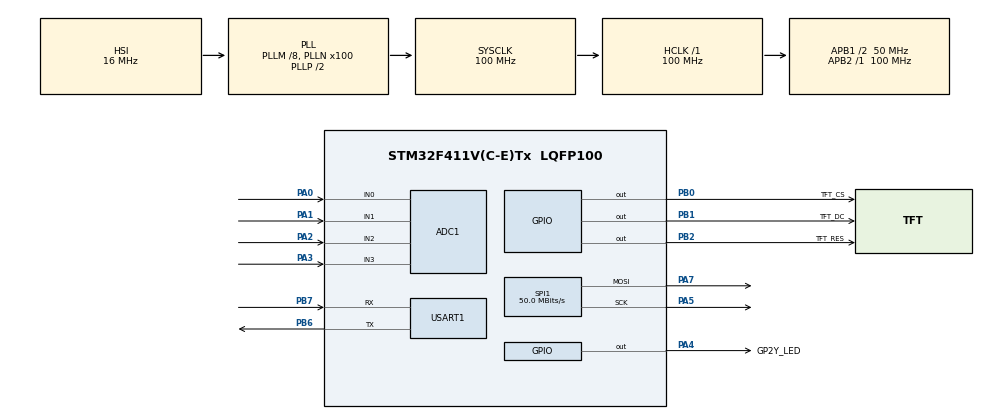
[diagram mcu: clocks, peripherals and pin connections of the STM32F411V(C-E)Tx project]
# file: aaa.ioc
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ADC1.Channel-1\#ChannelRegularConversion=ADC_CHANNEL_0
ADC1.NbrOfConversionFlag=1
ADC1.Rank-1\#ChannelRegularConversion=1
ADC1.SamplingTime-1\#ChannelRegularConversion=ADC_SAMPLETIME_3CYCLES
ADC1.master=1
FREERTOS.Tasks01=Task_System_Che,24,256,StartDefaultTask,Default,NULL,Dynamic,NULL,NULL
FREERTOS.configUSE_NEWLIB_REENTRANT=1
Mcu.Family=STM32F4
Mcu.Name=STM32F411V(C-E)Tx
Mcu.Package=LQFP100
NVIC.PriorityGroup=NVIC_PRIORITYGROUP_4
NVIC.TIM5_IRQn=true\:15\:0\:false\:false\:true\:false\:false\:true\:true
NVIC.TimeBase=TIM5_IRQn
NVIC.TimeBaseIP=TIM5
PA0-WKUP.Signal=ADCx_IN0
PA1.Signal=ADCx_IN1
PA13.Mode=Serial_Wire
PA13.Signal=SYS_JTMS-SWDIO
PA14.Mode=Serial_Wire
PA14.Signal=SYS_JTCK-SWCLK
PA2.Signal=ADCx_IN2
PA3.Signal=ADCx_IN3
PA4.GPIO_Label=GP2Y\\_LED
PA4.Signal=GPIO_Output
PA5.Mode=TX_Only_Simplex_Unidirect_Master
PA5.Signal=SPI1_SCK
PA7.Mode=TX_Only_Simplex_Unidirect_Master
PA7.Signal=SPI1_MOSI
PB0.GPIO_Label=TFT_CS
PB0.Signal=GPIO_Output
PB1.GPIO_Label=TFT_DC
PB1.Signal=GPIO_Output
PB2.GPIO_Label=TFT_RES
PB2.Signal=GPIO_Output
PB6.Mode=Asynchronous
PB6.Signal=USART1_TX
PB7.Mode=Asynchronous
PB7.Signal=USART1_RX
PH0\ -\ OSC_IN.Mode=HSE-External-Oscillator
PH0\ -\ OSC_IN.Signal=RCC_OSC_IN
PH1\ -\ OSC_OUT.Mode=HSE-External-Oscillator
PH1\ -\ OSC_OUT.Signal=RCC_OSC_OUT
ProjectManager.HeapSize=0x200
ProjectManager.StackSize=0x400
ProjectManager.TargetToolchain=STM32CubeIDE
RCC.48MHZClocksFreq_Value=50000000
RCC.AHBFreq_Value=100000000
RCC.APB1CLKDivider=RCC_HCLK_DIV2
RCC.APB1Freq_Value=50000000
RCC.APB1TimFreq_Value=100000000
RCC.APB2Freq_Value=100000000
RCC.APB2TimFreq_Value=100000000
RCC.CortexFreq_Value=100000000
RCC.HCLKFreq_Value=100000000
RCC.HSE_VALUE=25000000
RCC.HSI_VALUE=16000000
RCC.LSE_VALUE=32768
RCC.PLLM=8
RCC.PLLN=100
RCC.SYSCLKFreq_VALUE=100000000
RCC.SYSCLKSource=RCC_SYSCLKSOURCE_PLLCLK
RCC.VCOOutputFreq_Value=200000000
SH.ADCx_IN0.0=ADC1_IN0,IN0
SH.ADCx_IN1.0=ADC1_IN1,IN1
SH.ADCx_IN2.0=ADC1_IN2,IN2
SH.ADCx_IN3.0=ADC1_IN3,IN3
SPI1.CalculateBaudRate=50.0 MBits/s
SPI1.Direction=SPI_DIRECTION_2LINES
SPI1.Mode=SPI_MODE_MASTER
SPI1.VirtualType=VM_MASTER
USART1.VirtualMode=VM_ASYNC
VP_FREERTOS_VS_CMSIS_V2.Mode=CMSIS_V2
VP_SYS_VS_tim5.Mode=TIM5
board=custom

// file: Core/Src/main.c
/* USER CODE BEGIN Header */
/**
  ******************************************************************************
  * @file           : main.c
  * @brief          : Main program body
  ******************************************************************************
  * @attention
  *
  * Copyright (c) 2026 STMicroelectronics.
  * All rights reserved.
  *
  * This software is licensed under terms that can be found in the LICENSE file
  * in the root directory of this software component.
  * If no LICENSE file comes with this software, it is provided AS-IS.
  *
  ******************************************************************************
  */
/* USER CODE END Header */
#include "main.h"
#include "cmsis_os.h"

/* USER CODE BEGIN Includes */
/* >>>>>>>>>>>>>>>>>>>>>>>>>>>>>>>>>>>>>>>>>>>>>>>>>>>>>>>>>>>>>>>>>>>>>>>>> */
/* >>> PASTE [1] - Include module ứng dụng                                  */
#include "air_quality.h"
/* <<< PASTE [1] END                                                         */
/* <<<<<<<<<<<<<<<<<<<<<<<<<<<<<<<<<<<<<<<<<<<<<<<<<<<<<<<<<<<<<<<<<<<<<<<<< */
/* USER CODE END Includes */

ADC_HandleTypeDef hadc1;

SPI_HandleTypeDef hspi1;

UART_HandleTypeDef huart1;

/* Definitions for Task_System_Che */
osThreadId_t Task_System_CheHandle;
const osThreadAttr_t Task_System_Che_attributes = {
  .name = "Task_System_Che",
  .stack_size = 256 * 4,
  .priority = (osPriority_t) osPriorityNormal,
};
/* USER CODE BEGIN PV */
/* >>>>>>>>>>>>>>>>>>>>>>>>>>>>>>>>>>>>>>>>>>>>>>>>>>>>>>>>>>>>>>>>>>>>>>>>> */
/* >>> PASTE [2] - Khai báo 3 task mới                                       */
osThreadId_t TaskSensorHandle;
osThreadId_t TaskDisplayHandle;
osThreadId_t TaskUARTHandle;

const osThreadAttr_t TaskSensor_attributes = {
  .name       = "TaskSensor",
  .stack_size = 512 * 4,
  .priority   = (osPriority_t) osPriorityAboveNormal,
};
const osThreadAttr_t TaskDisplay_attributes = {
  .name       = "TaskDisplay",
  .stack_size = 512 * 4,
  .priority   = (osPriority_t) osPriorityNormal,
};
const osThreadAttr_t TaskUART_attributes = {
  .name       = "TaskUART",
  .stack_size = 384 * 4,
  .priority   = (osPriority_t) osPriorityBelowNormal,
};
/* <<< PASTE [2] END                                                         */
/* <<<<<<<<<<<<<<<<<<<<<<<<<<<<<<<<<<<<<<<<<<<<<<<<<<<<<<<<<<<<<<<<<<<<<<<<< */
/* USER CODE END PV */

void SystemClock_Config(void);
static void MX_GPIO_Init(void);
static void MX_ADC1_Init(void);
static void MX_SPI1_Init(void);
static void MX_USART1_UART_Init(void);
void StartDefaultTask(void *argument);

int main(void)
{

  /* MCU Configuration--------------------------------------------------------*/

  /* Reset of all peripherals, Initializes the Flash interface and the Systick. */
  HAL_Init();

  /* Configure the system clock */
  SystemClock_Config();

  /* Initialize all configured peripherals */
  MX_GPIO_Init();
  MX_ADC1_Init();
  MX_SPI1_Init();
  MX_USART1_UART_Init();

  /* Init scheduler */
  osKernelInitialize();

  /* Create the thread(s) */
  /* creation of Task_System_Che */
  Task_System_CheHandle = osThreadNew(StartDefaultTask, NULL, &Task_System_Che_attributes);

  /* USER CODE BEGIN RTOS_THREADS */
  /* >>>>>>>>>>>>>>>>>>>>>>>>>>>>>>>>>>>>>>>>>>>>>>>>>>>>>>>>>>>>>>>>>>>>>>> */
  /* >>> PASTE [3] - Tạo 3 task: đọc cảm biến / hiển thị TFT / báo UART     */
  TaskSensorHandle  = osThreadNew(Task_SensorRead,    NULL, &TaskSensor_attributes);
  TaskDisplayHandle = osThreadNew(Task_DisplayUpdate, NULL, &TaskDisplay_attributes);
  TaskUARTHandle    = osThreadNew(Task_UART_Report,   NULL, &TaskUART_attributes);
  /* <<< PASTE [3] END                                                       */
  /* <<<<<<<<<<<<<<<<<<<<<<<<<<<<<<<<<<<<<<<<<<<<<<<<<<<<<<<<<<<<<<<<<<<<<<< */
  /* USER CODE END RTOS_THREADS */

  /* Start scheduler */
  osKernelStart();

  /* We should never get here as control is now taken by the scheduler */

  /* Infinite loop */
  while (1)
  {

  }
}

void SystemClock_Config(void)
{
  RCC_OscInitTypeDef RCC_OscInitStruct = {0};
  RCC_ClkInitTypeDef RCC_ClkInitStruct = {0};

  /** Configure the main internal regulator output voltage
  */
  __HAL_RCC_PWR_CLK_ENABLE();
  __HAL_PWR_VOLTAGESCALING_CONFIG(PWR_REGULATOR_VOLTAGE_SCALE1);

  /** Initializes the RCC Oscillators according to the specified parameters
  * in the RCC_OscInitTypeDef structure.
  */
  RCC_OscInitStruct.OscillatorType = RCC_OSCILLATORTYPE_HSI;
  RCC_OscInitStruct.HSIState = RCC_HSI_ON;
  RCC_OscInitStruct.HSICalibrationValue = RCC_HSICALIBRATION_DEFAULT;
  RCC_OscInitStruct.PLL.PLLState = RCC_PLL_ON;
  RCC_OscInitStruct.PLL.PLLSource = RCC_PLLSOURCE_HSI;
  RCC_OscInitStruct.PLL.PLLM = 8;
  RCC_OscInitStruct.PLL.PLLN = 100;
  RCC_OscInitStruct.PLL.PLLP = RCC_PLLP_DIV2;
  RCC_OscInitStruct.PLL.PLLQ = 4;
  if (HAL_RCC_OscConfig(&RCC_OscInitStruct) != HAL_OK)
  {
    Error_Handler();
  }

  /** Initializes the CPU, AHB and APB buses clocks
  */
  RCC_ClkInitStruct.ClockType = RCC_CLOCKTYPE_HCLK|RCC_CLOCKTYPE_SYSCLK
                              |RCC_CLOCKTYPE_PCLK1|RCC_CLOCKTYPE_PCLK2;
  RCC_ClkInitStruct.SYSCLKSource = RCC_SYSCLKSOURCE_PLLCLK;
  RCC_ClkInitStruct.AHBCLKDivider = RCC_SYSCLK_DIV1;
  RCC_ClkInitStruct.APB1CLKDivider = RCC_HCLK_DIV2;
  RCC_ClkInitStruct.APB2CLKDivider = RCC_HCLK_DIV1;

  if (HAL_RCC_ClockConfig(&RCC_ClkInitStruct, FLASH_LATENCY_3) != HAL_OK)
  {
    Error_Handler();
  }
}

static void MX_ADC1_Init(void)
{

  ADC_ChannelConfTypeDef sConfig = {0};

  /** Configure the global features of the ADC (Clock, Resolution, Data Alignment and number of conversion)
  */
  hadc1.Instance = ADC1;
  hadc1.Init.ClockPrescaler = ADC_CLOCK_SYNC_PCLK_DIV4;
  hadc1.Init.Resolution = ADC_RESOLUTION_12B;
  hadc1.Init.ScanConvMode = DISABLE;
  hadc1.Init.ContinuousConvMode = DISABLE;
  hadc1.Init.DiscontinuousConvMode = DISABLE;
  hadc1.Init.ExternalTrigConvEdge = ADC_EXTERNALTRIGCONVEDGE_NONE;
  hadc1.Init.ExternalTrigConv = ADC_SOFTWARE_START;
  hadc1.Init.DataAlign = ADC_DATAALIGN_RIGHT;
  hadc1.Init.NbrOfConversion = 1;
  hadc1.Init.DMAContinuousRequests = DISABLE;
  hadc1.Init.EOCSelection = ADC_EOC_SINGLE_CONV;
  if (HAL_ADC_Init(&hadc1) != HAL_OK)
  {
    Error_Handler();
  }

  /** Configure for the selected ADC regular channel its corresponding rank in the sequencer and its sample time.
  */
  sConfig.Channel = ADC_CHANNEL_0;
  sConfig.Rank = 1;
  sConfig.SamplingTime = ADC_SAMPLETIME_3CYCLES;
  if (HAL_ADC_ConfigChannel(&hadc1, &sConfig) != HAL_OK)
  {
    Error_Handler();
  }

}

static void MX_SPI1_Init(void)
{

  /* SPI1 parameter configuration*/
  hspi1.Instance = SPI1;
  hspi1.Init.Mode = SPI_MODE_MASTER;
  hspi1.Init.Direction = SPI_DIRECTION_2LINES;
  hspi1.Init.DataSize = SPI_DATASIZE_8BIT;
  hspi1.Init.CLKPolarity = SPI_POLARITY_LOW;
  hspi1.Init.CLKPhase = SPI_PHASE_1EDGE;
  hspi1.Init.NSS = SPI_NSS_SOFT;
  hspi1.Init.BaudRatePrescaler = SPI_BAUDRATEPRESCALER_2;
  hspi1.Init.FirstBit = SPI_FIRSTBIT_MSB;
  hspi1.Init.TIMode = SPI_TIMODE_DISABLE;
  hspi1.Init.CRCCalculation = SPI_CRCCALCULATION_DISABLE;
  hspi1.Init.CRCPolynomial = 10;
  if (HAL_SPI_Init(&hspi1) != HAL_OK)
  {
    Error_Handler();
  }

}

static void MX_USART1_UART_Init(void)
{

  huart1.Instance = USART1;
  huart1.Init.BaudRate = 115200;
  huart1.Init.WordLength = UART_WORDLENGTH_8B;
  huart1.Init.StopBits = UART_STOPBITS_1;
  huart1.Init.Parity = UART_PARITY_NONE;
  huart1.Init.Mode = UART_MODE_TX_RX;
  huart1.Init.HwFlowCtl = UART_HWCONTROL_NONE;
  huart1.Init.OverSampling = UART_OVERSAMPLING_16;
  if (HAL_UART_Init(&huart1) != HAL_OK)
  {
    Error_Handler();
  }

}

static void MX_GPIO_Init(void)
{
  GPIO_InitTypeDef GPIO_InitStruct = {0};

  /* GPIO Ports Clock Enable */
  __HAL_RCC_GPIOH_CLK_ENABLE();
  __HAL_RCC_GPIOA_CLK_ENABLE();
  __HAL_RCC_GPIOB_CLK_ENABLE();

  /*Configure GPIO pin Output Level */
  HAL_GPIO_WritePin(GP2Y__LED_GPIO_Port, GP2Y__LED_Pin, GPIO_PIN_RESET);

  /*Configure GPIO pin Output Level */
  HAL_GPIO_WritePin(GPIOB, TFT_CS_Pin|TFT_DC_Pin|TFT_RES_Pin, GPIO_PIN_RESET);

  /*Configure GPIO pin : GP2Y__LED_Pin */
  GPIO_InitStruct.Pin = GP2Y__LED_Pin;
  GPIO_InitStruct.Mode = GPIO_MODE_OUTPUT_PP;
  GPIO_InitStruct.Pull = GPIO_NOPULL;
  GPIO_InitStruct.Speed = GPIO_SPEED_FREQ_LOW;
  HAL_GPIO_Init(GP2Y__LED_GPIO_Port, &GPIO_InitStruct);

  /*Configure GPIO pins : TFT_CS_Pin TFT_DC_Pin TFT_RES_Pin */
  GPIO_InitStruct.Pin = TFT_CS_Pin|TFT_DC_Pin|TFT_RES_Pin;
  GPIO_InitStruct.Mode = GPIO_MODE_OUTPUT_PP;
  GPIO_InitStruct.Pull = GPIO_NOPULL;
  GPIO_InitStruct.Speed = GPIO_SPEED_FREQ_LOW;
  HAL_GPIO_Init(GPIOB, &GPIO_InitStruct);

  /* USER CODE BEGIN MX_GPIO_Init_2 */
  /* >>>>>>>>>>>>>>>>>>>>>>>>>>>>>>>>>>>>>>>>>>>>>>>>>>>>>>>>>>>>>>>>>>>>>>> */
  /* >>> PASTE [4] - Bổ sung GPIO mà CubeMX chưa có                          */
  /*                 1) Sửa lại TFT_CS thành OUTPUT (CubeMX gốc đang INPUT)  */
  /*                 2) Cấu hình PA4 làm chân điều khiển LED của GP2Y1010    */

  /* (1) Ghi đè cấu hình TFT_CS: INPUT -> OUTPUT_PP */
  HAL_GPIO_WritePin(TFT_CS_GPIO_Port, TFT_CS_Pin, GPIO_PIN_SET);   /* CS HIGH (không chọn) */
  GPIO_InitStruct.Pin   = TFT_CS_Pin;
  GPIO_InitStruct.Mode  = GPIO_MODE_OUTPUT_PP;
  GPIO_InitStruct.Pull  = GPIO_NOPULL;
  GPIO_InitStruct.Speed = GPIO_SPEED_FREQ_HIGH;
  HAL_GPIO_Init(TFT_CS_GPIO_Port, &GPIO_InitStruct);

  /* (2) PA4 - GP2Y1010 LED control (active LOW), mặc định HIGH = LED tắt */
  HAL_GPIO_WritePin(GPIOA, GPIO_PIN_4, GPIO_PIN_SET);
  GPIO_InitStruct.Pin   = GPIO_PIN_4;
  GPIO_InitStruct.Mode  = GPIO_MODE_OUTPUT_PP;
  GPIO_InitStruct.Pull  = GPIO_NOPULL;
  GPIO_InitStruct.Speed = GPIO_SPEED_FREQ_LOW;
  HAL_GPIO_Init(GPIOA, &GPIO_InitStruct);
  /* <<< PASTE [4] END                                                       */
  /* <<<<<<<<<<<<<<<<<<<<<<<<<<<<<<<<<<<<<<<<<<<<<<<<<<<<<<<<<<<<<<<<<<<<<<< */
  /* USER CODE END MX_GPIO_Init_2 */
}

/* USER CODE BEGIN 4 */
/* USER CODE BEGIN 4 */

/* USER CODE END 4 */

void StartDefaultTask(void *argument)
{
  for(;;)
  {
    osDelay(1);
  }
}

void HAL_TIM_PeriodElapsedCallback(TIM_HandleTypeDef *htim)
{
  if (htim->Instance == TIM5)
  {
    HAL_IncTick();
  }
}

void Error_Handler(void)
{
  __disable_irq();
  while (1)
  {
  }
}
